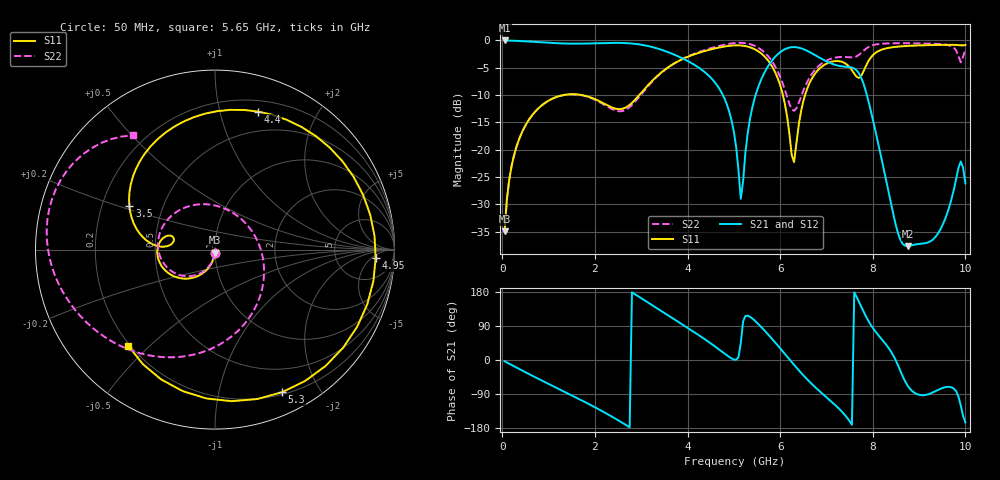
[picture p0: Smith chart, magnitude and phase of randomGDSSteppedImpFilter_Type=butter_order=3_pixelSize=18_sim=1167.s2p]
! freq	dB(S11)	phase(S11)	dB(S12)	phase(S12)
!  dB(S21)	phase(S21)	dB(S22)	phase(S22)
!S-par simulation data
#  GHz  S  DB  R 50
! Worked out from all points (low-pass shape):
!   200 points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, 50 MHz to 10 GHz, reference 50 ohm
!   highest |S21| = -0.01 dB at 50 MHz (marker M1); lowest = -37.7 dB at 8.75 GHz (marker M2)
!   |S21| within 3 dB of the highest: start of sweep to 3.822 GHz; 5.893 GHz to 6.819 GHz (926.3 MHz wide, 14.6 % of centre)
!   lowest |S11| = -35.0 dB at 50 MHz (marker M3), VSWR 1.04, Z = 49.9 - j1.78 ohm
!   |S11| at or under -10 dB: start of sweep to 1.323 GHz; 1.717 GHz to 2.959 GHz (1.242 GHz wide, 53.1 % of centre); 6.059 GHz to 6.538 GHz (479.5 MHz wide, 7.61 % of centre)
!   |S22| runs from -35.0 to -0.4 dB; largest |S21 - S12| = 0
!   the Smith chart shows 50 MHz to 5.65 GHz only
!   S11 on the Smith chart (normalised r, x): 50 MHz: 1.00, -0.04; 3.5 GHz: 0.32, +0.22; 4.4 GHz: 0.30, +1.32; 4.95 GHz: 15, -7; 5.3 GHz: 0.22, -1.55; 5.65 GHz: 0.19, -0.43
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0.05  -34.96 -92.7  -0.01 -3.3  -0.01 -3.3  -34.96 -93.0
0.5  -15.57 -121.1  -0.17 -32.2  -0.17 -32.2  -15.57 -124.4
1.75  -10.05 174.3  -0.58 -108.8  -0.58 -108.8  -10.11 147.5
2.65  -12.34 172.0  -0.48 -170.0  -0.48 -170.0  -12.76 26.6
3.4  -6.11 159.4  -1.61 131.7  -1.61 131.7  -6.19 -78.6
3.5  -5.42 153.0  -1.90 123.9  -1.90 123.9  -5.48 -87.8
4.4  -1.88 72.7  -6.01 52.5  -6.01 52.5  -1.69 -150.5
4.95  -0.95 -3.1  -14.62 4.2  -14.62 4.2  -0.55 176.4
5.05  -0.90 -19.8  -19.53 0.6  -19.53 0.6  -0.46 169.7
5.15  -0.92 -37.3  -29.00 44.9  -29.00 44.9  -0.44 162.8
5.3  -1.13 -64.8  -16.92 117.1  -16.92 117.1  -0.58 152.0
5.65  -2.83 -131.9  -6.08 79.4  -6.08 79.4  -2.11 125.8
6  -8.19 156.9  -2.16 31.0  -2.16 31.0  -6.67 104.6
6.3  -22.27 7.9  -1.22 -12.7  -1.22 -12.7  -12.90 135.4
6.7  -6.76 -124.9  -2.43 -65.2  -2.43 -65.2  -5.95 159.1
7.2  -3.78 159.1  -4.51 -120.1  -4.51 -120.1  -3.13 134.3
7.5  -4.90 93.6  -4.89 -161.6  -4.89 -161.6  -3.09 123.7
7.7  -6.87 -2.2  -6.01 154.1  -6.01 154.1  -2.66 122.7
7.9  -3.89 -107.8  -10.89 104.4  -10.89 104.4  -1.25 115.5
8.35  -1.35 164.3  -28.08 30.3  -28.08 30.3  -0.54 91.4
8.75  -1.01 128.5  -37.68 -67.3  -37.68 -67.3  -0.52 74.4
10  -0.85 55.1  -26.16 -164.6  -26.16 -164.6  -1.66 41.9
